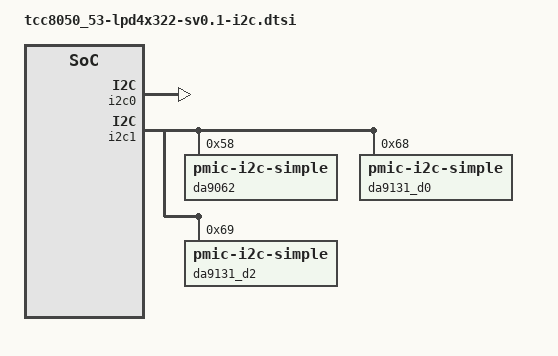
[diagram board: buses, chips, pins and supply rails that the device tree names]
// SPDX-License-Identifier: (GPL-2.0-or-later OR MIT)
/*
 * Copyright (C) 2023 Telechips Inc.
 */

&i2c0 {
	pinctrl-names = "default";
	pinctrl-0 = <&i2c37_bus>;
	port-mux = <37>;
	status = "okay";
};

&i2c1 {
	pinctrl-names = "default";
	pinctrl-0 = <&i2c22_bus>;
	port-mux = <22>;
	status = "okay";

	da9062 {
		compatible = "pmic-i2c-simple";
		reg = <0x58>;
	};

	da9131_d0 {
		compatible = "pmic-i2c-simple";
		reg = <0x68>;
	};

	da9131_d2 {
		compatible = "pmic-i2c-simple";
		reg = <0x69>;
	};
};

&pinctrl {
	/omit-if-no-ref/
	i2c37_bus: i2c37_bus {
		telechips,pins = "gpmc-16", "gpmc-17";
		telechips,pin-function = <8>;
		telechips,input-enable;
		telechips,no-pull;
	};

	/omit-if-no-ref/
	i2c22_bus: i2c22_bus {
		telechips,pins = "gph-4", "gph-5";
		telechips,pin-function = <9>;
		telechips,input-enable;
		telechips,no-pull;
	};

	/omit-if-no-ref/
	i2c6_bus: i2c6_bus {
		telechips,pins = "gpa-22", "gpa-23";
		telechips,pin-function = <8>;
		telechips,input-enable;
		telechips,no-pull;
	};


	/omit-if-no-ref/
	i2c11_bus: i2c11_bus {
		telechips,pins = "gpb-19", "gpb-20";
		telechips,pin-function = <8>;
		telechips,input-enable;
		telechips,no-pull;
	};

	/omit-if-no-ref/
	i2c12_bus: i2c12_bus {
		telechips,pins = "gpb-21", "gpb-22";
		telechips,pin-function = <8>;
		telechips,input-enable;
		telechips,no-pull;
	};
};
